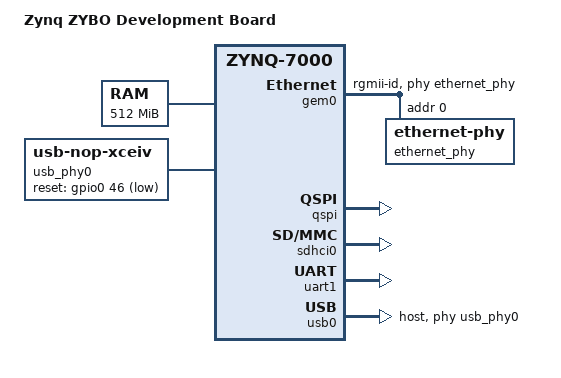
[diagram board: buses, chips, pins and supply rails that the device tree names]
// SPDX-License-Identifier: GPL-2.0+
/*
 *  Copyright (C) 2011 - 2015 Xilinx
 *  Copyright (C) 2012 National Instruments Corp.
 */
/dts-v1/;
#include "zynq-7000.dtsi"

/ {
	model = "Zynq ZYBO Development Board";
	compatible = "digilent,zynq-zybo", "xlnx,zynq-7000";

	aliases {
		ethernet0 = &gem0;
		serial0 = &uart1;
		spi0 = &qspi;
		mmc0 = &sdhci0;
	};

	memory@0 {
		device_type = "memory";
		reg = <0x0 0x20000000>;
	};

	chosen {
		bootargs = "";
		stdout-path = "serial0:115200n8";
	};

	usb_phy0: phy0 {
		#phy-cells = <0>;
		compatible = "usb-nop-xceiv";
		reset-gpios = <&gpio0 46 1>;
	};
};

&amba {
	axi_dma_0: axidma@0x40400000 {
		compatible = "xlnx,axi-dma-1.00.a";
		#dma-cells = <1>;
		reg = <0x40400000 0x1000>;
		xlnx,addrwidth = <32>;
		dma-ranges = <0x00000000 0x00000000 0x20000000>;
		clocks = <&clkc 15>;
		clock-names = "s_axi_lite_aclk";
		dma-channel@40400000 {
			compatible = "xlnx,axi-dma-s2mm-channel";
			interrupts = <0 29 4>;
			xlnx,datawidth = <64>;
		};	
	};
	rng_tester0: rng_test@0x43c00000 {
		compatible = "rng-test";
		reg = <0x43c00000 0x1000>;
		dmas = <&axi_dma_0 0>;
		dma-names = "axidma";
	};
};

&clkc {
	ps-clk-frequency = <50000000>;
};

&gem0 {
	status = "okay";
	phy-mode = "rgmii-id";
	phy-handle = <&ethernet_phy>;

	ethernet_phy: ethernet-phy@0 {
		reg = <0>;
		device_type = "ethernet-phy";
	};
};

&qspi {
	u-boot,dm-pre-reloc;
	status = "okay";
};

&sdhci0 {
	u-boot,dm-pre-reloc;
	status = "okay";
};

&uart1 {
	u-boot,dm-pre-reloc;
	status = "okay";
};

&usb0 {
	status = "okay";
	dr_mode = "host";
	usb-phy = <&usb_phy0>;
};
